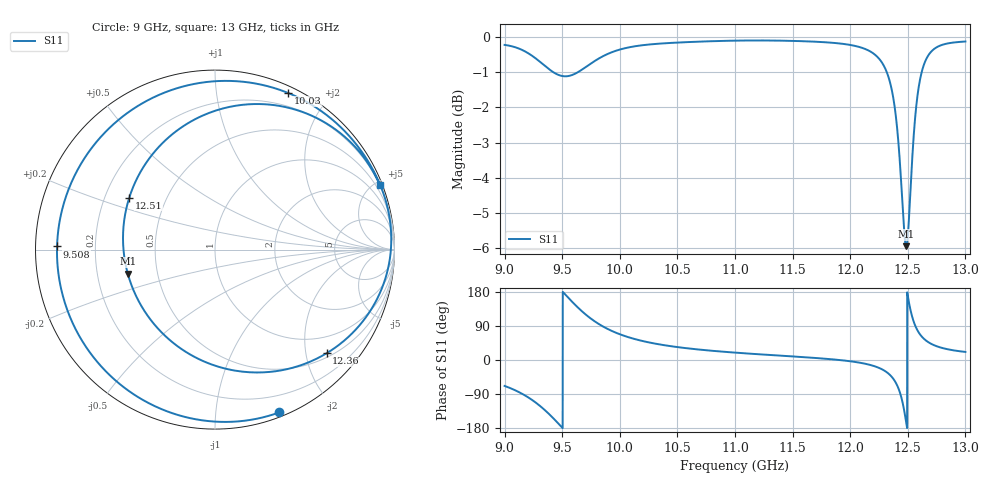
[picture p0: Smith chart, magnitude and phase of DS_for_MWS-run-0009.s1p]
! TOUCHSTONE file generated by CST DESIGN STUDIO
! Date and time: Tue Feb  4 14:01:47 2025
! Project name: C:\Work\MatlabApps\UnitCellOptimizationMatlab\CST\unitcell.cst
! Tree item: Tasks\Sweep1\SPara1\S-Parameters
! Header version: 2024
! Port assignment regex: !\s*Touchstone port\s*([0-9]+)\s*=\s*(CST MWS port|CST DES external port|CST DES block port)\s*(.+)\s* \(\"(.*)\"\)(\s*mode\s*([0-9]+))?.*
! Touchstone port assignment:
! Touchstone port 1 = CST DES external port 1 ("")
# GHz S MA R 50
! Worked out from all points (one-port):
!   4001 points, 9 GHz to 13 GHz, reference 50 ohm
!   lowest |S11| = -5.9 dB at 12.49 GHz (marker M1), VSWR 3.03, Z = 16.8 - j6.04 ohm
!   |S11| at or under -10 dB: nowhere
!   S11 on the Smith chart (normalised r, x): 9 GHz: 0.04, -1.47; 9.508 GHz: 0.06, +0.01; 10.03 GHz: 0.07, +1.57; 12.36 GHz: 0.59, -2.43; 12.51 GHz: 0.30, +0.26; 13 GHz: 0.20, +5.30
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9  0.9752 -68.4
9.161  0.9576 -90.7
9.277  0.931 -113.9
9.38  0.9021 -140.9
9.5  0.8806 -178.5
9.508  0.8802 178.9
9.626  0.8898 141.5
9.728  0.9125 114.1
9.843  0.9377 90.4
10  0.9604 67.9
10.027  0.9631 65.0
10.5  0.9827 34.1
11  0.9889 19.5
11.5  0.9881 9.4
12  0.9751 -3.3
12.238  0.9369 -19.3
12.356  0.8488 -42.8
12.433  0.6576 -87.1
12.459  0.5594 -118.2
12.486  0.5041 -164.5
12.5  0.5209 169.3
12.512  0.5585 148.8
12.541  0.6825 111.0
12.571  0.7908 86.1
12.619  0.8898 62.7
12.676  0.9411 47.4
12.794  0.9748 32.1
13  0.9861 21.3
